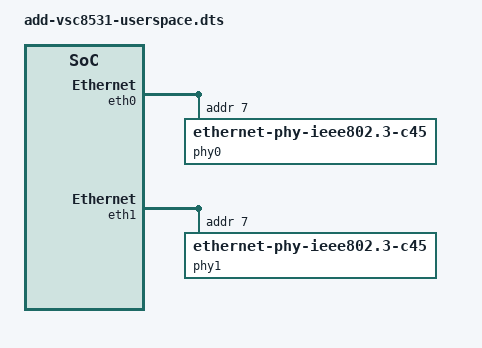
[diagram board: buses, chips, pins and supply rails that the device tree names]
#include <dt-bindings/net/mscc-phy-vsc8531.h>

&eth0 {
        phy0: ethernet-phy@7 {
                compatible = "ethernet-phy-ieee802.3-c45";
                reg = <7>;
                vsc8531,vddmac          = <1800>;
                vsc8531,edge-slowdown   = <0>;
                vsc8531,led-0-mode      = <VSC8531_LINK_1000_ACTIVITY>;
                vsc8531,led-1-mode      = <VSC8531_LINK_100_ACTIVITY>;
       };
};

&eth1 {
        phy1: ethernet-phy@7 {
                compatible = "ethernet-phy-ieee802.3-c45";
                reg = <7>;
                vsc8531,vddmac          = <1800>;
                vsc8531,edge-slowdown   = <0>;
                vsc8531,led-0-mode      = <VSC8531_LINK_1000_ACTIVITY>;
                vsc8531,led-1-mode      = <VSC8531_LINK_100_ACTIVITY>;
        };
};

